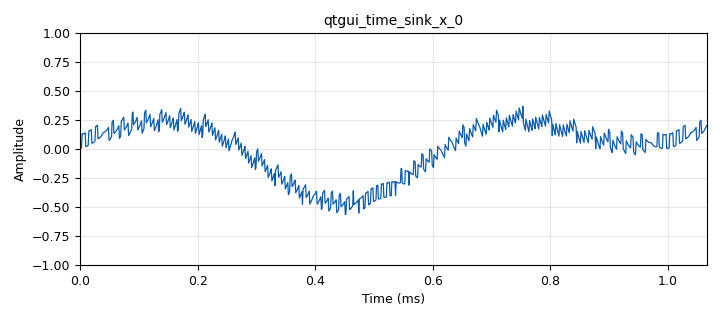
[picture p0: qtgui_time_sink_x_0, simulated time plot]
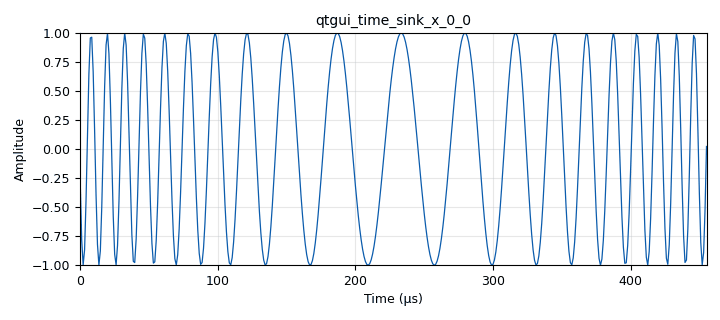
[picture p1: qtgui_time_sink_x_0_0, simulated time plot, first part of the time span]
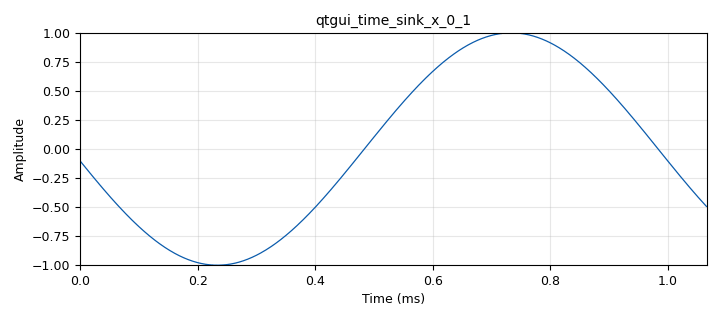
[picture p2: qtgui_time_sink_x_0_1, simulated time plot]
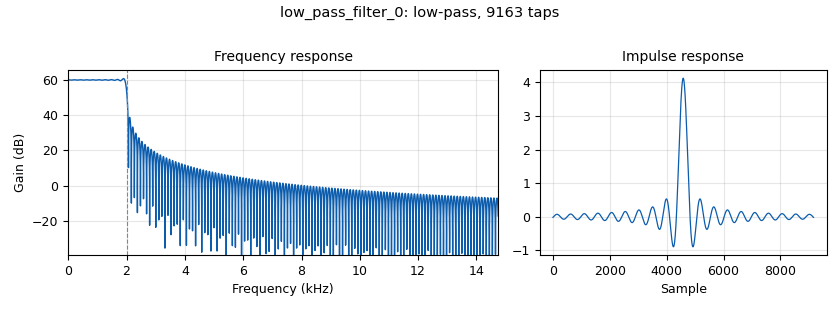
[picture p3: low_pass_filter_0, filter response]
<?xml version='1.0' encoding='utf-8'?>
<?grc format='1' created='3.7.13'?>
<flow_graph>
<block>
<key>options</key>
<param><key>id</key><value>top_block</value></param>
<param><key>generate_options</key><value>qt_gui</value></param>
</block>
<block>
<key>variable</key>
<param><key>id</key><value>samp_rate</value></param>
<param><key>value</key><value>960000</value></param>
</block>
<block>
<key>analog_phase_modulator_fc</key>
<param><key>id</key><value>analog_phase_modulator_fc_0</value></param>
<param><key>sensitivity</key><value>500000</value></param>
</block>
<block>
<key>analog_sig_source_x</key>
<param><key>id</key><value>analog_sig_source_x_0</value></param>
<param><key>amp</key><value>1</value></param>
<param><key>freq</key><value>1000</value></param>
<param><key>offset</key><value>0</value></param>
<param><key>type</key><value>float</value></param>
<param><key>samp_rate</key><value>samp_rate</value></param>
<param><key>waveform</key><value>analog.GR_COS_WAVE</value></param>
</block>
<block>
<key>analog_sig_source_x</key>
<param><key>id</key><value>analog_sig_source_x_0_0</value></param>
<param><key>amp</key><value>1</value></param>
<param><key>freq</key><value>100000</value></param>
<param><key>offset</key><value>0</value></param>
<param><key>type</key><value>complex</value></param>
<param><key>samp_rate</key><value>samp_rate</value></param>
<param><key>waveform</key><value>analog.GR_COS_WAVE</value></param>
</block>
<block>
<key>audio_sink</key>
<param><key>id</key><value>audio_sink_0</value></param>
<param><key>samp_rate</key><value>32000</value></param>
</block>
<block>
<key>blocks_complex_to_arg</key>
<param><key>id</key><value>blocks_complex_to_arg_0</value></param>
</block>
<block>
<key>blocks_complex_to_arg</key>
<param><key>id</key><value>blocks_complex_to_arg_1</value></param>
</block>
<block>
<key>blocks_complex_to_real</key>
<param><key>id</key><value>blocks_complex_to_real_0</value></param>
</block>
<block>
<key>blocks_delay</key>
<param><key>id</key><value>blocks_delay_0</value></param>
<param><key>delay</key><value>1</value></param>
<param><key>type</key><value>complex</value></param>
</block>
<block>
<key>blocks_multiply_xx</key>
<param><key>id</key><value>blocks_multiply_xx_0</value></param>
<param><key>type</key><value>complex</value></param>
</block>
<block>
<key>blocks_sub_xx</key>
<param><key>id</key><value>blocks_sub_xx_0</value></param>
<param><key>type</key><value>float</value></param>
</block>
<block>
<key>iir_filter_xxx</key>
<param><key>id</key><value>iir_filter_xxx_0</value></param>
<param><key>fftaps</key><value>[1.0/samp_rate]</value></param>
<param><key>fbtaps</key><value>[1, 1]</value></param>
<param><key>type</key><value>ffd</value></param>
</block>
<block>
<key>low_pass_filter</key>
<param><key>id</key><value>low_pass_filter_0</value></param>
<param><key>cutoff_freq</key><value>2000</value></param>
<param><key>decim</key><value>1</value></param>
<param><key>type</key><value>fir_filter_fff</value></param>
<param><key>gain</key><value>1000</value></param>
<param><key>samp_rate</key><value>samp_rate</value></param>
<param><key>width</key><value>100</value></param>
<param><key>win</key><value>firdes.WIN_RECTANGULAR</value></param>
</block>
<block>
<key>qtgui_time_sink_x</key>
<param><key>id</key><value>qtgui_time_sink_x_0</value></param>
<param><key>gui_hint</key><value>tab@2</value></param>
<param><key>color1</key><value>"blue"</value></param>
<param><key>label1</key><value></value></param>
<param><key>size</key><value>1024</value></param>
<param><key>srate</key><value>samp_rate</value></param>
<param><key>type</key><value>float</value></param>
</block>
<block>
<key>qtgui_time_sink_x</key>
<param><key>id</key><value>qtgui_time_sink_x_0_0</value></param>
<param><key>gui_hint</key><value>tab@1</value></param>
<param><key>color1</key><value>"blue"</value></param>
<param><key>label1</key><value></value></param>
<param><key>size</key><value>1024</value></param>
<param><key>srate</key><value>samp_rate</value></param>
<param><key>type</key><value>float</value></param>
</block>
<block>
<key>qtgui_time_sink_x</key>
<param><key>id</key><value>qtgui_time_sink_x_0_1</value></param>
<param><key>gui_hint</key><value>tab@0</value></param>
<param><key>color1</key><value>"blue"</value></param>
<param><key>label1</key><value></value></param>
<param><key>size</key><value>1024</value></param>
<param><key>srate</key><value>samp_rate</value></param>
<param><key>type</key><value>float</value></param>
</block>
<block>
<key>rational_resampler_xxx</key>
<param><key>id</key><value>rational_resampler_xxx_0</value></param>
<param><key>decim</key><value>samp_rate</value></param>
<param><key>interp</key><value>32000</value></param>
<param><key>taps</key><value></value></param>
<param><key>type</key><value>fff</value></param>
</block>
<block>
<key>qtgui_tab_widget</key>
<param><key>id</key><value>tab</value></param>
<param><key>label0</key><value>message</value></param>
<param><key>label1</key><value>modulated</value></param>
<param><key>label2</key><value>demodulated</value></param>
<param><key>num_tabs</key><value>3</value></param>
</block>
<connection><source_block_id>analog_phase_modulator_fc_0</source_block_id><sink_block_id>blocks_multiply_xx_0</sink_block_id><source_key>0</source_key><sink_key>0</sink_key></connection>
<connection><source_block_id>analog_sig_source_x_0</source_block_id><sink_block_id>iir_filter_xxx_0</sink_block_id><source_key>0</source_key><sink_key>0</sink_key></connection>
<connection><source_block_id>analog_sig_source_x_0</source_block_id><sink_block_id>qtgui_time_sink_x_0_1</sink_block_id><source_key>0</source_key><sink_key>0</sink_key></connection>
<connection><source_block_id>analog_sig_source_x_0_0</source_block_id><sink_block_id>blocks_multiply_xx_0</sink_block_id><source_key>0</source_key><sink_key>1</sink_key></connection>
<connection><source_block_id>blocks_complex_to_arg_0</source_block_id><sink_block_id>blocks_sub_xx_0</sink_block_id><source_key>0</source_key><sink_key>0</sink_key></connection>
<connection><source_block_id>blocks_complex_to_arg_1</source_block_id><sink_block_id>blocks_sub_xx_0</sink_block_id><source_key>0</source_key><sink_key>1</sink_key></connection>
<connection><source_block_id>blocks_complex_to_real_0</source_block_id><sink_block_id>qtgui_time_sink_x_0_0</sink_block_id><source_key>0</source_key><sink_key>0</sink_key></connection>
<connection><source_block_id>blocks_delay_0</source_block_id><sink_block_id>blocks_complex_to_arg_1</sink_block_id><source_key>0</source_key><sink_key>0</sink_key></connection>
<connection><source_block_id>blocks_multiply_xx_0</source_block_id><sink_block_id>blocks_complex_to_arg_0</sink_block_id><source_key>0</source_key><sink_key>0</sink_key></connection>
<connection><source_block_id>blocks_multiply_xx_0</source_block_id><sink_block_id>blocks_complex_to_real_0</sink_block_id><source_key>0</source_key><sink_key>0</sink_key></connection>
<connection><source_block_id>blocks_multiply_xx_0</source_block_id><sink_block_id>blocks_delay_0</sink_block_id><source_key>0</source_key><sink_key>0</sink_key></connection>
<connection><source_block_id>blocks_sub_xx_0</source_block_id><sink_block_id>low_pass_filter_0</sink_block_id><source_key>0</source_key><sink_key>0</sink_key></connection>
<connection><source_block_id>iir_filter_xxx_0</source_block_id><sink_block_id>analog_phase_modulator_fc_0</sink_block_id><source_key>0</source_key><sink_key>0</sink_key></connection>
<connection><source_block_id>low_pass_filter_0</source_block_id><sink_block_id>qtgui_time_sink_x_0</sink_block_id><source_key>0</source_key><sink_key>0</sink_key></connection>
<connection><source_block_id>low_pass_filter_0</source_block_id><sink_block_id>rational_resampler_xxx_0</sink_block_id><source_key>0</source_key><sink_key>0</sink_key></connection>
<connection><source_block_id>rational_resampler_xxx_0</source_block_id><sink_block_id>audio_sink_0</sink_block_id><source_key>0</source_key><sink_key>0</sink_key></connection>
</flow_graph>
